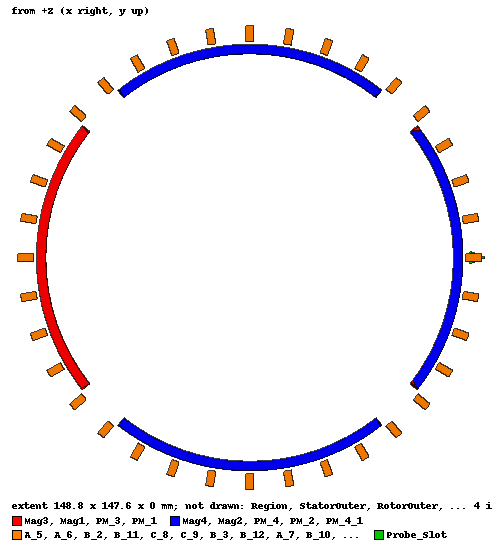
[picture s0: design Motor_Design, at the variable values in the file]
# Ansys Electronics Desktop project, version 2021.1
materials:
  vacuum: permittivity=1
  NdFe35_N: CoordinateSystemType=Cylindrical permittivity=1 permeability=1.0997785 conductivity=625000 magnetic_coercivity{Magnitude=-890000A_per_meter DirComp1=1 DirComp2=0 DirComp3=0}
  NdFe35_S: CoordinateSystemType=Cylindrical permittivity=1 permeability=1.0997785 conductivity=625000 magnetic_coercivity{Magnitude=-890000A_per_meter DirComp1=-1 DirComp2=0 DirComp3=0}
  copper: permeability=0.999991 conductivity=58000000

design Motor_Design (Maxwell 2D, Transient, XY geometry, model units mm)
options: ComputeTransientInductance ModelDepth=1meter
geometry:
  Probe_Slot [vacuum] = polyline(z=0mm, xy in mm: (70, -2) (75, 0) (70, 2), closed, covered)
  Region [vacuum] = circle(normal=Z, centre=(0mm, 0mm, 0mm), radius=125mm)
  StatorOuter [vacuum] = circle(normal=Z, centre=(0mm, 0mm, 0mm), radius=105mm)
  StatorInner = circle(normal=Z, centre=(0mm, 0mm, 0mm), radius=68mm)
  StatorOuter.subtract(StatorInner)
  Slot_1 = polyline(z=0mm, xy in mm: (68, -1.75) (68.8, -3.1) (70.3, -4.15) (74.45, 0) (70.3, 4.15) (68.8, 3.1) (68, 1.75) (68, -1.75), closed, covered, Arc from point 3 over 3)
  Slot_1_1..Slot_1_35 = Slot_1.duplicate_around_axis(axis=Z, angle=10deg, total=36)
  StatorOuter.subtract(Slot_1, Slot_1_1..Slot_1_35)
  RotorOuter [vacuum] = circle(normal=Z, centre=(0mm, 0mm, 0mm), radius=64.8mm)
  Shaft = circle(normal=Z, centre=(0mm, 0mm, 0mm), radius=24mm)
  RotorOuter.subtract(Shaft)
  Band [vacuum] = circle(normal=Z, centre=(0mm, 0mm, 0mm), radius=67.9mm)
  A_1 [copper] = rectangle(corner=(68.8mm, -1.25mm, 0mm), x_size=5mm, y_size=2.5mm)
  A_2 [copper] = rectangle(corner=(68.8mm, -1.25mm, 0mm), x_size=5mm, y_size=2.5mm)
  A_2.rotate(axis=Z, angle=10deg)
  A_3 [copper] = rectangle(corner=(68.8mm, -1.25mm, 0mm), x_size=5mm, y_size=2.5mm)
  A_3.rotate(axis=Z, angle=20deg)
  A_4 [copper] = rectangle(corner=(68.8mm, -1.25mm, 0mm), x_size=5mm, y_size=2.5mm)
  A_4.rotate(axis=Z, angle=30deg)
  A_5 [copper] = rectangle(corner=(68.8mm, -1.25mm, 0mm), x_size=5mm, y_size=2.5mm)
  A_5.rotate(axis=Z, angle=40deg)
  A_6 [copper] = rectangle(corner=(68.8mm, -1.25mm, 0mm), x_size=5mm, y_size=2.5mm)
  A_6.rotate(axis=Z, angle=50deg)
  A_7 [copper] = rectangle(corner=(68.8mm, -1.25mm, 0mm), x_size=5mm, y_size=2.5mm)
  A_7.rotate(axis=Z, angle=60deg)
  A_8 [copper] = rectangle(corner=(68.8mm, -1.25mm, 0mm), x_size=5mm, y_size=2.5mm)
  A_8.rotate(axis=Z, angle=70deg)
  A_9 [copper] = rectangle(corner=(68.8mm, -1.25mm, 0mm), x_size=5mm, y_size=2.5mm)
  A_9.rotate(axis=Z, angle=80deg)
  A_10 [copper] = rectangle(corner=(68.8mm, -1.25mm, 0mm), x_size=5mm, y_size=2.5mm)
  A_10.rotate(axis=Z, angle=90deg)
  A_11 [copper] = rectangle(corner=(68.8mm, -1.25mm, 0mm), x_size=5mm, y_size=2.5mm)
  A_11.rotate(axis=Z, angle=100deg)
  A_12 [copper] = rectangle(corner=(68.8mm, -1.25mm, 0mm), x_size=5mm, y_size=2.5mm)
  A_12.rotate(axis=Z, angle=110deg)
  B_1 [copper] = rectangle(corner=(68.8mm, -1.25mm, 0mm), x_size=5mm, y_size=2.5mm)
  B_1.rotate(axis=Z, angle=120deg)
  B_2 [copper] = rectangle(corner=(68.8mm, -1.25mm, 0mm), x_size=5mm, y_size=2.5mm)
  B_2.rotate(axis=Z, angle=130deg)
  B_3 [copper] = rectangle(corner=(68.8mm, -1.25mm, 0mm), x_size=5mm, y_size=2.5mm)
  B_3.rotate(axis=Z, angle=140deg)
  B_4 [copper] = rectangle(corner=(68.8mm, -1.25mm, 0mm), x_size=5mm, y_size=2.5mm)
  B_4.rotate(axis=Z, angle=150deg)
  B_5 [copper] = rectangle(corner=(68.8mm, -1.25mm, 0mm), x_size=5mm, y_size=2.5mm)
  B_5.rotate(axis=Z, angle=160deg)
  B_6 [copper] = rectangle(corner=(68.8mm, -1.25mm, 0mm), x_size=5mm, y_size=2.5mm)
  B_6.rotate(axis=Z, angle=170deg)
  B_7 [copper] = rectangle(corner=(68.8mm, -1.25mm, 0mm), x_size=5mm, y_size=2.5mm)
  B_7.rotate(axis=Z, angle=180deg)
  B_8 [copper] = rectangle(corner=(68.8mm, -1.25mm, 0mm), x_size=5mm, y_size=2.5mm)
  B_8.rotate(axis=Z, angle=190deg)
  B_9 [copper] = rectangle(corner=(68.8mm, -1.25mm, 0mm), x_size=5mm, y_size=2.5mm)
  B_9.rotate(axis=Z, angle=200deg)
  B_10 [copper] = rectangle(corner=(68.8mm, -1.25mm, 0mm), x_size=5mm, y_size=2.5mm)
  B_10.rotate(axis=Z, angle=210deg)
  B_11 [copper] = rectangle(corner=(68.8mm, -1.25mm, 0mm), x_size=5mm, y_size=2.5mm)
  B_11.rotate(axis=Z, angle=220deg)
  B_12 [copper] = rectangle(corner=(68.8mm, -1.25mm, 0mm), x_size=5mm, y_size=2.5mm)
  B_12.rotate(axis=Z, angle=230deg)
  C_1 [copper] = rectangle(corner=(68.8mm, -1.25mm, 0mm), x_size=5mm, y_size=2.5mm)
  C_1.rotate(axis=Z, angle=240deg)
  C_2 [copper] = rectangle(corner=(68.8mm, -1.25mm, 0mm), x_size=5mm, y_size=2.5mm)
  C_2.rotate(axis=Z, angle=250deg)
  C_3 [copper] = rectangle(corner=(68.8mm, -1.25mm, 0mm), x_size=5mm, y_size=2.5mm)
  C_3.rotate(axis=Z, angle=260deg)
  C_4 [copper] = rectangle(corner=(68.8mm, -1.25mm, 0mm), x_size=5mm, y_size=2.5mm)
  C_4.rotate(axis=Z, angle=270deg)
  C_5 [copper] = rectangle(corner=(68.8mm, -1.25mm, 0mm), x_size=5mm, y_size=2.5mm)
  C_5.rotate(axis=Z, angle=280deg)
  C_6 [copper] = rectangle(corner=(68.8mm, -1.25mm, 0mm), x_size=5mm, y_size=2.5mm)
  C_6.rotate(axis=Z, angle=290deg)
  C_7 [copper] = rectangle(corner=(68.8mm, -1.25mm, 0mm), x_size=5mm, y_size=2.5mm)
  C_7.rotate(axis=Z, angle=300deg)
  C_8 [copper] = rectangle(corner=(68.8mm, -1.25mm, 0mm), x_size=5mm, y_size=2.5mm)
  C_8.rotate(axis=Z, angle=310deg)
  C_9 [copper] = rectangle(corner=(68.8mm, -1.25mm, 0mm), x_size=5mm, y_size=2.5mm)
  C_9.rotate(axis=Z, angle=320deg)
  C_10 [copper] = rectangle(corner=(68.8mm, -1.25mm, 0mm), x_size=5mm, y_size=2.5mm)
  C_10.rotate(axis=Z, angle=330deg)
  C_11 [copper] = rectangle(corner=(68.8mm, -1.25mm, 0mm), x_size=5mm, y_size=2.5mm)
  C_11.rotate(axis=Z, angle=340deg)
  C_12 [copper] = rectangle(corner=(68.8mm, -1.25mm, 0mm), x_size=5mm, y_size=2.5mm)
  C_12.rotate(axis=Z, angle=350deg)
  PM_1 [NdFe35_N] = polyline(z=0mm, xy in mm: (53.2445, -41.9746) (54.6769, -40.0908) (56.0428, -38.1582) (57.3403, -36.1791) (58.568, -34.1559) (59.7244, -32.0911) (60.808, -29.9872) (61.8175, -27.8467) (62.7516, -25.6724) (63.6094, -23.4667) (64.3896, -21.2325) (65.0914, -18.9724) (65.7139, -16.6892) (66.2563, -14.3856) (66.718, -12.0646) (67.0984, -9.7288) (67.397, -7.3812) (67.6136, -5.0246) (67.7477, -2.6618) (67.7994, -0.2958) (67.7684, 2.0705) (67.6548, 4.4343) (67.4589, 6.7928) (67.1807, 9.1429) (66.8207, 11.4819) (66.3793, 13.8069) (65.857, 16.1151) (65.2545, 18.4037) (64.5724, 20.6698) (63.8117, 22.9108) (62.9733, 25.1238) (62.0581, 27.3062) (61.0673, 29.4554) (60.0022, 31.5687) (58.8639, 33.6435) (57.6539, 35.6773) (56.3736, 37.6677) (55.0247, 39.6121) (53.6088, 41.5083) (50.8885, 40.1173) (52.2576, 38.3169) (53.563, 36.4698) (54.8032, 34.5782) (55.9765, 32.6446) (57.0817, 30.6711) (58.1174, 28.6603) (59.0822, 26.6146) (59.975, 24.5364) (60.7948, 22.4284) (61.5405, 20.293) (62.2112, 18.1329) (62.8062, 15.9507) (63.3246, 13.7491) (63.7658, 11.5307) (64.1294, 9.2983) (64.4149, 7.0546) (64.6218, 4.8022) (64.75, 2.544) (64.7994, 0.2827) (64.7698, -1.9789) (64.6613, -4.2381) (64.474, -6.4922) (64.2081, -8.7383) (63.864, -10.9738) (63.4421, -13.196) (62.943, -15.402) (62.3671, -17.5893) (61.7152, -19.7552) (60.9882, -21.897) (60.1869, -24.0121) (59.3122, -26.098) (58.3652, -28.1521) (57.3472, -30.1718) (56.2593, -32.1548) (55.1028, -34.0987) (53.8792, -36.001) (52.59, -37.8594) (51.2367, -39.6717), closed, covered)
  PM_2 [NdFe35_S] = polyline(z=0mm, xy in mm: (53.2445, -41.9746) (54.6769, -40.0908) (56.0428, -38.1582) (57.3403, -36.1791) (58.568, -34.1559) (59.7244, -32.0911) (60.808, -29.9872) (61.8175, -27.8467) (62.7516, -25.6724) (63.6094, -23.4667) (64.3896, -21.2325) (65.0914, -18.9724) (65.7139, -16.6892) (66.2563, -14.3856) (66.718, -12.0646) (67.0984, -9.7288) (67.397, -7.3812) (67.6136, -5.0246) (67.7477, -2.6618) (67.7994, -0.2958) (67.7684, 2.0705) (67.6548, 4.4343) (67.4589, 6.7928) (67.1807, 9.1429) (66.8207, 11.4819) (66.3793, 13.8069) (65.857, 16.1151) (65.2545, 18.4037) (64.5724, 20.6698) (63.8117, 22.9108) (62.9733, 25.1238) (62.0581, 27.3062) (61.0673, 29.4554) (60.0022, 31.5687) (58.8639, 33.6435) (57.6539, 35.6773) (56.3736, 37.6677) (55.0247, 39.6121) (53.6088, 41.5083) (50.8885, 40.1173) (52.2576, 38.3169) (53.563, 36.4698) (54.8032, 34.5782) (55.9765, 32.6446) (57.0817, 30.6711) (58.1174, 28.6603) (59.0822, 26.6146) (59.975, 24.5364) (60.7948, 22.4284) (61.5405, 20.293) (62.2112, 18.1329) (62.8062, 15.9507) (63.3246, 13.7491) (63.7658, 11.5307) (64.1294, 9.2983) (64.4149, 7.0546) (64.6218, 4.8022) (64.75, 2.544) (64.7994, 0.2827) (64.7698, -1.9789) (64.6613, -4.2381) (64.474, -6.4922) (64.2081, -8.7383) (63.864, -10.9738) (63.4421, -13.196) (62.943, -15.402) (62.3671, -17.5893) (61.7152, -19.7552) (60.9882, -21.897) (60.1869, -24.0121) (59.3122, -26.098) (58.3652, -28.1521) (57.3472, -30.1718) (56.2593, -32.1548) (55.1028, -34.0987) (53.8792, -36.001) (52.59, -37.8594) (51.2367, -39.6717), closed, covered)
  PM_2.rotate(axis=Z, angle=90deg)
  PM_3 [NdFe35_N] = polyline(z=0mm, xy in mm: (53.2445, -41.9746) (54.6769, -40.0908) (56.0428, -38.1582) (57.3403, -36.1791) (58.568, -34.1559) (59.7244, -32.0911) (60.808, -29.9872) (61.8175, -27.8467) (62.7516, -25.6724) (63.6094, -23.4667) (64.3896, -21.2325) (65.0914, -18.9724) (65.7139, -16.6892) (66.2563, -14.3856) (66.718, -12.0646) (67.0984, -9.7288) (67.397, -7.3812) (67.6136, -5.0246) (67.7477, -2.6618) (67.7994, -0.2958) (67.7684, 2.0705) (67.6548, 4.4343) (67.4589, 6.7928) (67.1807, 9.1429) (66.8207, 11.4819) (66.3793, 13.8069) (65.857, 16.1151) (65.2545, 18.4037) (64.5724, 20.6698) (63.8117, 22.9108) (62.9733, 25.1238) (62.0581, 27.3062) (61.0673, 29.4554) (60.0022, 31.5687) (58.8639, 33.6435) (57.6539, 35.6773) (56.3736, 37.6677) (55.0247, 39.6121) (53.6088, 41.5083) (50.8885, 40.1173) (52.2576, 38.3169) (53.563, 36.4698) (54.8032, 34.5782) (55.9765, 32.6446) (57.0817, 30.6711) (58.1174, 28.6603) (59.0822, 26.6146) (59.975, 24.5364) (60.7948, 22.4284) (61.5405, 20.293) (62.2112, 18.1329) (62.8062, 15.9507) (63.3246, 13.7491) (63.7658, 11.5307) (64.1294, 9.2983) (64.4149, 7.0546) (64.6218, 4.8022) (64.75, 2.544) (64.7994, 0.2827) (64.7698, -1.9789) (64.6613, -4.2381) (64.474, -6.4922) (64.2081, -8.7383) (63.864, -10.9738) (63.4421, -13.196) (62.943, -15.402) (62.3671, -17.5893) (61.7152, -19.7552) (60.9882, -21.897) (60.1869, -24.0121) (59.3122, -26.098) (58.3652, -28.1521) (57.3472, -30.1718) (56.2593, -32.1548) (55.1028, -34.0987) (53.8792, -36.001) (52.59, -37.8594) (51.2367, -39.6717), closed, covered)
  PM_3.rotate(axis=Z, angle=180deg)
  PM_4 [NdFe35_S] = polyline(z=0mm, xy in mm: (53.2445, -41.9746) (54.6769, -40.0908) (56.0428, -38.1582) (57.3403, -36.1791) (58.568, -34.1559) (59.7244, -32.0911) (60.808, -29.9872) (61.8175, -27.8467) (62.7516, -25.6724) (63.6094, -23.4667) (64.3896, -21.2325) (65.0914, -18.9724) (65.7139, -16.6892) (66.2563, -14.3856) (66.718, -12.0646) (67.0984, -9.7288) (67.397, -7.3812) (67.6136, -5.0246) (67.7477, -2.6618) (67.7994, -0.2958) (67.7684, 2.0705) (67.6548, 4.4343) (67.4589, 6.7928) (67.1807, 9.1429) (66.8207, 11.4819) (66.3793, 13.8069) (65.857, 16.1151) (65.2545, 18.4037) (64.5724, 20.6698) (63.8117, 22.9108) (62.9733, 25.1238) (62.0581, 27.3062) (61.0673, 29.4554) (60.0022, 31.5687) (58.8639, 33.6435) (57.6539, 35.6773) (56.3736, 37.6677) (55.0247, 39.6121) (53.6088, 41.5083) (50.8885, 40.1173) (52.2576, 38.3169) (53.563, 36.4698) (54.8032, 34.5782) (55.9765, 32.6446) (57.0817, 30.6711) (58.1174, 28.6603) (59.0822, 26.6146) (59.975, 24.5364) (60.7948, 22.4284) (61.5405, 20.293) (62.2112, 18.1329) (62.8062, 15.9507) (63.3246, 13.7491) (63.7658, 11.5307) (64.1294, 9.2983) (64.4149, 7.0546) (64.6218, 4.8022) (64.75, 2.544) (64.7994, 0.2827) (64.7698, -1.9789) (64.6613, -4.2381) (64.474, -6.4922) (64.2081, -8.7383) (63.864, -10.9738) (63.4421, -13.196) (62.943, -15.402) (62.3671, -17.5893) (61.7152, -19.7552) (60.9882, -21.897) (60.1869, -24.0121) (59.3122, -26.098) (58.3652, -28.1521) (57.3472, -30.1718) (56.2593, -32.1548) (55.1028, -34.0987) (53.8792, -36.001) (52.59, -37.8594) (51.2367, -39.6717), closed, covered)
  PM_4.rotate(axis=Z, angle=270deg)
  PM_1_1 [NdFe35_N] = polyline(z=0mm, xy in mm: (53.2445, -41.9746) (55.3683, -39.1304) (57.3403, -36.1791) (59.1552, -33.1285) (60.808, -29.9872) (62.294, -26.7636) (63.6094, -23.4667) (64.7504, -20.1055) (65.7139, -16.6892) (66.4972, -13.2271) (67.0984, -9.7288) (67.5156, -6.2038) (67.7477, -2.6618) (67.7942, 0.8875) (67.6548, 4.4343) (67.33, 7.969) (66.8207, 11.4819) (66.1282, 14.9633) (65.2545, 18.4037) (64.2019, 21.7936) (62.9733, 25.1238) (61.5721, 28.3851) (60.0022, 31.5687) (58.2678, 34.6657) (56.3736, 37.6677) (54.325, 40.5664) (50.8885, 40.1173) (52.9184, 37.399) (54.8032, 34.5782) (56.5377, 31.6627) (58.1174, 28.6603) (59.5377, 25.5794) (60.7948, 22.4284) (61.8853, 19.2159) (62.8062, 15.9507) (63.5549, 12.6419) (64.1294, 9.2983) (64.5282, 5.9293) (64.75, 2.544) (64.7944, -0.8482) (64.6613, -4.2381) (64.3508, -7.6164) (63.864, -10.9738) (63.2022, -14.3012) (62.3671, -17.5893) (61.3611, -20.8293) (60.1869, -24.0121) (58.8477, -27.1292) (57.3472, -30.1718) (55.6895, -33.1318) (53.8792, -36.001) (51.9212, -38.7714), closed, covered)
  PM_2_1 [NdFe35_S] = polyline(z=0mm, xy in mm: (53.2445, -41.9746) (55.3683, -39.1304) (57.3403, -36.1791) (59.1552, -33.1285) (60.808, -29.9872) (62.294, -26.7636) (63.6094, -23.4667) (64.7504, -20.1055) (65.7139, -16.6892) (66.4972, -13.2271) (67.0984, -9.7288) (67.5156, -6.2038) (67.7477, -2.6618) (67.7942, 0.8875) (67.6548, 4.4343) (67.33, 7.969) (66.8207, 11.4819) (66.1282, 14.9633) (65.2545, 18.4037) (64.2019, 21.7936) (62.9733, 25.1238) (61.5721, 28.3851) (60.0022, 31.5687) (58.2678, 34.6657) (56.3736, 37.6677) (54.325, 40.5664) (50.8885, 40.1173) (52.9184, 37.399) (54.8032, 34.5782) (56.5377, 31.6627) (58.1174, 28.6603) (59.5377, 25.5794) (60.7948, 22.4284) (61.8853, 19.2159) (62.8062, 15.9507) (63.5549, 12.6419) (64.1294, 9.2983) (64.5282, 5.9293) (64.75, 2.544) (64.7944, -0.8482) (64.6613, -4.2381) (64.3508, -7.6164) (63.864, -10.9738) (63.2022, -14.3012) (62.3671, -17.5893) (61.3611, -20.8293) (60.1869, -24.0121) (58.8477, -27.1292) (57.3472, -30.1718) (55.6895, -33.1318) (53.8792, -36.001) (51.9212, -38.7714), closed, covered)
  PM_2.rotate(axis=Z, angle=90deg)
  PM_3_1 [NdFe35_N] = polyline(z=0mm, xy in mm: (53.2445, -41.9746) (55.3683, -39.1304) (57.3403, -36.1791) (59.1552, -33.1285) (60.808, -29.9872) (62.294, -26.7636) (63.6094, -23.4667) (64.7504, -20.1055) (65.7139, -16.6892) (66.4972, -13.2271) (67.0984, -9.7288) (67.5156, -6.2038) (67.7477, -2.6618) (67.7942, 0.8875) (67.6548, 4.4343) (67.33, 7.969) (66.8207, 11.4819) (66.1282, 14.9633) (65.2545, 18.4037) (64.2019, 21.7936) (62.9733, 25.1238) (61.5721, 28.3851) (60.0022, 31.5687) (58.2678, 34.6657) (56.3736, 37.6677) (54.325, 40.5664) (50.8885, 40.1173) (52.9184, 37.399) (54.8032, 34.5782) (56.5377, 31.6627) (58.1174, 28.6603) (59.5377, 25.5794) (60.7948, 22.4284) (61.8853, 19.2159) (62.8062, 15.9507) (63.5549, 12.6419) (64.1294, 9.2983) (64.5282, 5.9293) (64.75, 2.544) (64.7944, -0.8482) (64.6613, -4.2381) (64.3508, -7.6164) (63.864, -10.9738) (63.2022, -14.3012) (62.3671, -17.5893) (61.3611, -20.8293) (60.1869, -24.0121) (58.8477, -27.1292) (57.3472, -30.1718) (55.6895, -33.1318) (53.8792, -36.001) (51.9212, -38.7714), closed, covered)
  PM_3.rotate(axis=Z, angle=180deg)
  PM_4_1 [NdFe35_S] = polyline(z=0mm, xy in mm: (53.2445, -41.9746) (55.3683, -39.1304) (57.3403, -36.1791) (59.1552, -33.1285) (60.808, -29.9872) (62.294, -26.7636) (63.6094, -23.4667) (64.7504, -20.1055) (65.7139, -16.6892) (66.4972, -13.2271) (67.0984, -9.7288) (67.5156, -6.2038) (67.7477, -2.6618) (67.7942, 0.8875) (67.6548, 4.4343) (67.33, 7.969) (66.8207, 11.4819) (66.1282, 14.9633) (65.2545, 18.4037) (64.2019, 21.7936) (62.9733, 25.1238) (61.5721, 28.3851) (60.0022, 31.5687) (58.2678, 34.6657) (56.3736, 37.6677) (54.325, 40.5664) (50.8885, 40.1173) (52.9184, 37.399) (54.8032, 34.5782) (56.5377, 31.6627) (58.1174, 28.6603) (59.5377, 25.5794) (60.7948, 22.4284) (61.8853, 19.2159) (62.8062, 15.9507) (63.5549, 12.6419) (64.1294, 9.2983) (64.5282, 5.9293) (64.75, 2.544) (64.7944, -0.8482) (64.6613, -4.2381) (64.3508, -7.6164) (63.864, -10.9738) (63.2022, -14.3012) (62.3671, -17.5893) (61.3611, -20.8293) (60.1869, -24.0121) (58.8477, -27.1292) (57.3472, -30.1718) (55.6895, -33.1318) (53.8792, -36.001) (51.9212, -38.7714), closed, covered)
  PM_4.rotate(axis=Z, angle=270deg)
  PM_2.rotate(axis=Z, angle=90deg)
  PM_3.rotate(axis=Z, angle=180deg)
  PM_4.rotate(axis=Z, angle=270deg)
  Mag1 [NdFe35_N] = polyline(z=0mm, xy in mm: (53.2445, -41.9746) (67.8, 0) (53.2445, 41.9746) (50.8885, 40.1173) (64.8, 0) (50.8885, -40.1173), closed, covered, Arc from point 0 over 3, Arc from point 3 over 3)
  Mag2 [NdFe35_S] = polyline(z=0mm, xy in mm: (53.2445, -41.9746) (67.8, 0) (53.2445, 41.9746) (50.8885, 40.1173) (64.8, 0) (50.8885, -40.1173), closed, covered, Arc from point 0 over 3, Arc from point 3 over 3)
  Mag2.rotate(axis=Z, angle=90deg)
  Mag3 [NdFe35_N] = polyline(z=0mm, xy in mm: (53.2445, -41.9746) (67.8, 0) (53.2445, 41.9746) (50.8885, 40.1173) (64.8, 0) (50.8885, -40.1173), closed, covered, Arc from point 0 over 3, Arc from point 3 over 3)
  Mag3.rotate(axis=Z, angle=180deg)
  Mag4 [NdFe35_S] = polyline(z=0mm, xy in mm: (53.2445, -41.9746) (67.8, 0) (53.2445, 41.9746) (50.8885, 40.1173) (64.8, 0) (50.8885, -40.1173), closed, covered, Arc from point 0 over 3, Arc from point 3 over 3)
  Mag4.rotate(axis=Z, angle=270deg)
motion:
  MotionSetup1: Band Move_Type=Rotate Coordinate_System=Global Axis=Z Is_Positive=true InitPos=0deg Angular_Velocity=1500rpm Objects=Band
  Moving1: Moving Objects=[RotorOuter, PM_1..PM_4, PM_1_1, PM_2_1, PM_3_1, PM_4_1, Mag1..Mag4]
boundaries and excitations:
  VectorPotential1: Vector Potential Edges=Region.edge(1 of 1) Value=0
  A+_1: Coil Objects=A_1 Conductor_number=35 Winding=WindingA PolarityType=Negative
  A+_2: Coil Objects=A_2 Conductor_number=35 Winding=WindingA PolarityType=Negative
  A+_3: Coil Objects=A_3 Conductor_number=35 Winding=WindingA PolarityType=Negative
  A+_4: Coil Objects=A_4 Conductor_number=35 Winding=WindingA PolarityType=Negative
  A+_5: Coil Objects=A_5 Conductor_number=35 Winding=WindingA PolarityType=Negative
  A+_6: Coil Objects=A_6 Conductor_number=35 Winding=WindingA PolarityType=Negative
  A-_1: Coil Objects=A_7 Conductor_number=35 Winding=WindingA PolarityType=Positive
  A-_2: Coil Objects=A_8 Conductor_number=35 Winding=WindingA PolarityType=Positive
  A-_3: Coil Objects=A_9 Conductor_number=35 Winding=WindingA PolarityType=Positive
  A-_4: Coil Objects=A_10 Conductor_number=35 Winding=WindingA PolarityType=Positive
  A-_5: Coil Objects=A_11 Conductor_number=35 Winding=WindingA PolarityType=Positive
  A-_6: Coil Objects=A_12 Conductor_number=35 Winding=WindingA PolarityType=Positive
  B+_1: Coil Objects=B_1 Conductor_number=35 Winding=WindingB PolarityType=Negative
  B+_2: Coil Objects=B_2 Conductor_number=35 Winding=WindingB PolarityType=Negative
  B+_3: Coil Objects=B_3 Conductor_number=35 Winding=WindingB PolarityType=Negative
  B+_4: Coil Objects=B_4 Conductor_number=35 Winding=WindingB PolarityType=Negative
  B+_5: Coil Objects=B_5 Conductor_number=35 Winding=WindingB PolarityType=Negative
  B+_6: Coil Objects=B_6 Conductor_number=35 Winding=WindingB PolarityType=Negative
  B-_1: Coil Objects=B_7 Conductor_number=35 Winding=WindingB PolarityType=Positive
  B-_2: Coil Objects=B_8 Conductor_number=35 Winding=WindingB PolarityType=Positive
  B-_3: Coil Objects=B_9 Conductor_number=35 Winding=WindingB PolarityType=Positive
  B-_4: Coil Objects=B_10 Conductor_number=35 Winding=WindingB PolarityType=Positive
  B-_5: Coil Objects=B_11 Conductor_number=35 Winding=WindingB PolarityType=Positive
  B-_6: Coil Objects=B_12 Conductor_number=35 Winding=WindingB PolarityType=Positive
  C+_1: Coil Objects=C_1 Conductor_number=35 Winding=WindingC PolarityType=Negative
  C+_2: Coil Objects=C_2 Conductor_number=35 Winding=WindingC PolarityType=Negative
  C+_3: Coil Objects=C_3 Conductor_number=35 Winding=WindingC PolarityType=Negative
  C+_4: Coil Objects=C_4 Conductor_number=35 Winding=WindingC PolarityType=Negative
  C+_5: Coil Objects=C_5 Conductor_number=35 Winding=WindingC PolarityType=Negative
  C+_6: Coil Objects=C_6 Conductor_number=35 Winding=WindingC PolarityType=Negative
  C-_1: Coil Objects=C_7 Conductor_number=35 Winding=WindingC PolarityType=Positive
  C-_2: Coil Objects=C_8 Conductor_number=35 Winding=WindingC PolarityType=Positive
  C-_3: Coil Objects=C_9 Conductor_number=35 Winding=WindingC PolarityType=Positive
  C-_4: Coil Objects=C_10 Conductor_number=35 Winding=WindingC PolarityType=Positive
  C-_5: Coil Objects=C_11 Conductor_number=35 Winding=WindingC PolarityType=Positive
  C-_6: Coil Objects=C_12 Conductor_number=35 Winding=WindingC PolarityType=Positive
  WindingA: Winding Group Type=Current IsSolid=false Current=0A ParallelBranchesNum=1
  WindingB: Winding Group Type=Current IsSolid=false Current=0A ParallelBranchesNum=1
  WindingC: Winding Group Type=Current IsSolid=false Current=0A ParallelBranchesNum=1
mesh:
  Mesh_Stator: LengthBased Objects=StatorOuter MaxLength=1.5mm
  initial mesh: MeshMethod=AnsoftTAU
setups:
  Setup1: Transient NonlinearSolverResidual=0.0001 StopTime=0.04s TimeStep=0.0001s SaveFieldsType="Every N Steps" N_Steps=0 Steps_From=0 Steps_To=0 NumberSolveSteps=1 RangeStart=0s RangeEnd=0.1s InitialTimeStep=0.002s MinTimeStep=0.001s MaxTimeStep=0.003s TimeStepErrTolerance=0.0001
